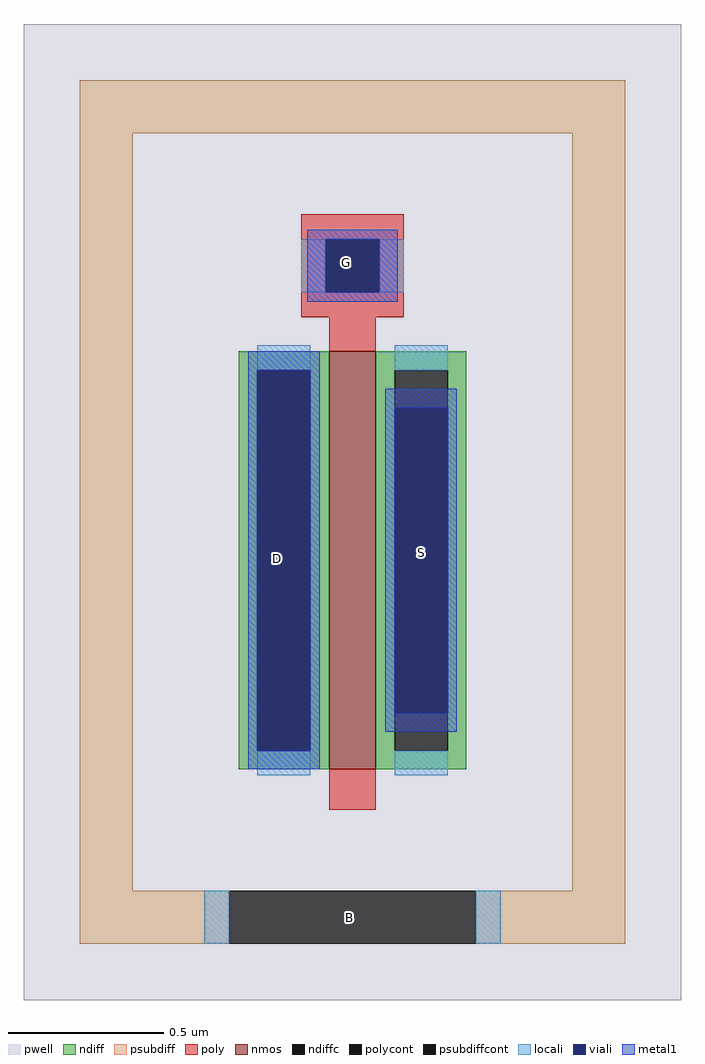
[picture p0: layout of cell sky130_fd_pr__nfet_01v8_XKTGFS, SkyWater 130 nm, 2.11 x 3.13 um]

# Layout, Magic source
magic
tech sky130A
magscale 1 2
<< pwell >>
rect -211 -313 211 313
<< nmos >>
rect -15 -165 15 103
<< ndiff >>
rect -73 91 -15 103
rect -73 -153 -61 91
rect -27 -153 -15 91
rect -73 -165 -15 -153
rect 15 91 73 103
rect 15 -153 27 91
rect 61 -153 73 91
rect 15 -165 73 -153
<< ndiffc >>
rect -61 -153 -27 91
rect 27 -153 61 91
<< psubdiff >>
rect -175 243 175 277
rect -175 -243 -141 243
rect 141 -243 175 243
rect -175 -277 -79 -243
rect 79 -277 175 -243
<< psubdiffcont >>
rect -79 -277 79 -243
<< poly >>
rect -33 175 33 191
rect -33 141 -17 175
rect 17 141 33 175
rect -33 125 33 141
rect -15 103 15 125
rect -15 -191 15 -165
<< polycont >>
rect -17 141 17 175
<< locali >>
rect -33 141 -17 175
rect 17 141 33 175
rect -61 91 -27 107
rect -61 -169 -27 -153
rect 27 91 61 107
rect 27 -169 61 -153
rect -95 -277 -79 -243
rect 79 -277 95 -243
<< viali >>
rect -17 141 17 175
rect -61 -153 -27 91
rect 27 -129 61 67
<< metal1 >>
rect -29 175 29 181
rect -29 141 -17 175
rect 17 141 29 175
rect -29 135 29 141
rect -67 91 -21 103
rect -67 -153 -61 91
rect -27 -153 -21 91
rect 21 67 67 79
rect 21 -129 27 67
rect 61 -129 67 67
rect 21 -141 67 -129
rect -67 -165 -21 -153
<< labels >>
flabel metal1 s -48 -30 -48 -30 0 FreeSans 320 0 0 0 D
port 0 nsew
flabel metal1 s 44 -26 44 -26 0 FreeSans 320 0 0 0 S
port 1 nsew
flabel metal1 s -4 160 -4 160 0 FreeSans 320 0 0 0 G
port 2 nsew
flabel locali s -2 -260 -2 -260 0 FreeSans 320 0 0 0 B
port 3 nsew
<< properties >>
string FIXED_BBOX -158 -260 158 260
string gencell sky130_fd_pr__nfet_01v8
string library sky130
string parameters w 1.34 l 0.150 m 1 nf 1 diffcov 100 polycov 100 guard 1 glc 0 grc 0 gtc 0 gbc 1 tbcov 100 rlcov 100 topc 1 botc 0 poverlap 0 doverlap 1 lmin 0.15 wmin 0.42 compatible {sky130_fd_pr__nfet_01v8 sky130_fd_pr__nfet_01v8_lvt  sky130_fd_bs_flash__special_sonosfet_star  sky130_fd_pr__nfet_g5v0d10v5 sky130_fd_pr__nfet_05v0_nvt  sky130_fd_pr__nfet_03v3_nvt} full_metal 0 viasrc 80 viadrn 100 viagate 100 viagb 0 viagr 0 viagl 0 viagt 0
<< end >>
